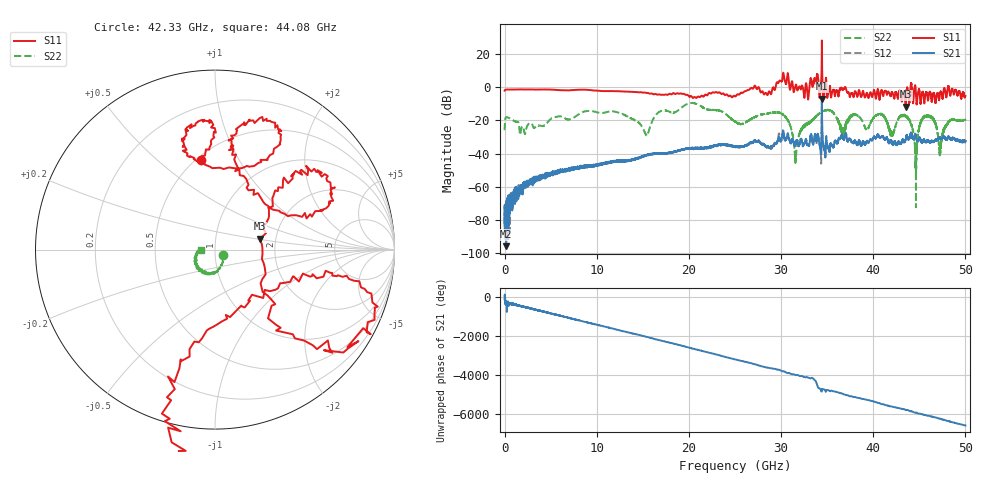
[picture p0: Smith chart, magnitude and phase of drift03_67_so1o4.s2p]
!Created with skrf (http://scikit-rf.org).
# Hz S RI R 50.0
!freq ReS11 ImS11 ReS21 ImS21 ReS12 ImS12 ReS22 ImS22
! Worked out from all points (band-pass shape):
!   10000 points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, 5.3 MHz to 50 GHz, reference 50 ohm
!   highest |S21| = -6.90 dB at 34.43 GHz (marker M1); lowest = -95.8 dB at 175.3 MHz (marker M2)
!   |S21| within 3 dB of the highest: 34.42737 GHz to 34.43489 GHz (7.52 MHz wide, 0.0218 % of centre)
!   lowest |S11| = -11.8 dB at 43.51 GHz (marker M3), VSWR 1.69, Z = 82.5 + j10.8 ohm
!   |S11| at or under -10 dB: 43.48627 GHz to 43.55506 GHz (68.79 MHz wide, 0.158 % of centre); 44.70595 GHz to 44.71234 GHz (6.39 MHz wide, 0.0143 % of centre); 44.72406 GHz to 44.72632 GHz (2.257 MHz wide, 0.00505 % of centre)
!   |S22| runs from -72.3 to -9.4 dB; largest |S21 - S12| = 0.12
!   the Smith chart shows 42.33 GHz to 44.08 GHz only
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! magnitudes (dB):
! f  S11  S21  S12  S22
! 5.3 MHz  -2.1  -73.3  -72.9  -25.9
! 175.3 MHz  -1.4  -95.8  -79.8  -18.1
! 2.985 GHz  -1.4  -56.9  -56.0  -22.4
! 8.34 GHz  -1.5  -48.3  -47.9  -15.3
! 12.46 GHz  -2.4  -44.5  -44.4  -15.5
! 15.4 GHz  -3.5  -41.1  -40.8  -29.0
! 16.67 GHz  -4.4  -40.2  -40.1  -15.3
! 20.45 GHz  -6.5  -36.7  -36.8  -9.5
! 25.01 GHz  -5.5  -36.0  -36.1  -20.7
! 29.96 GHz  3.9  -32.4  -32.3  -15.7
! 31.59 GHz  1.4  -33.9  -34.0  -44.2
! 33.34 GHz  2.6  -30.3  -30.6  -20.1
! 34.43 GHz  28.2  -6.9  -8.8  -14.5
! 36.69 GHz  -1.4  -29.7  -29.6  -26.1
! 37.98 GHz  -2.9  -32.2  -32.4  -16.7
! 41.67 GHz  -2.9  -33.3  -33.4  -23.5
! 43.51 GHz  -11.8  -31.5  -31.5  -17.5
! 44.62 GHz  -2.2  -29.2  -29.4  -50.5
! 45.61 GHz  -6.7  -32.5  -32.5  -17.4
! 47.26 GHz  -3.5  -30.3  -30.8  -38.4
! 48.31 GHz  -3.9  -30.4  -30.7  -19.9
! 50 GHz  -5.2  -32.4  -32.3  -19.6
